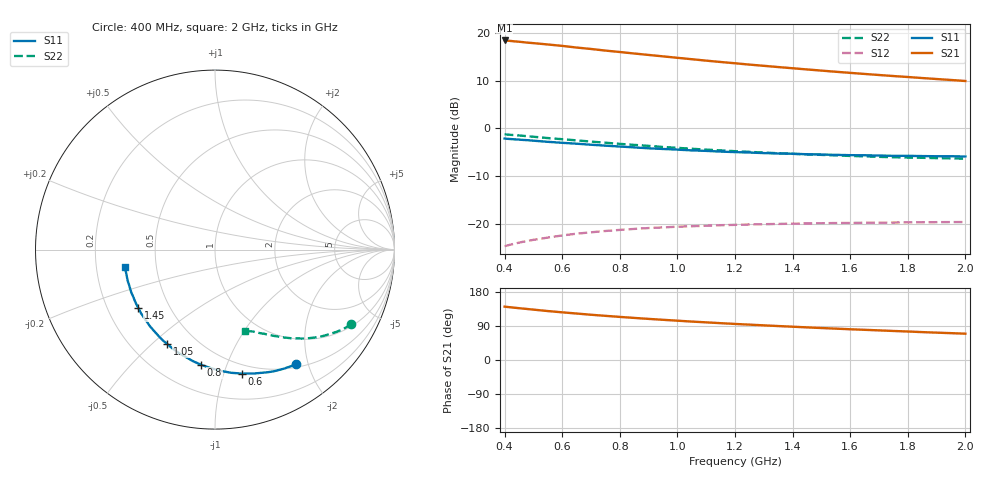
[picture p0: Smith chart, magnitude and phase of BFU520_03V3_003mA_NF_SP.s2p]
! Filename:  P:\Prog\Test\Noise\ATS_data\Testdata_Net\06 Compressed Noise after Statistics\BFU520_APG2013_37_A05_03p3V_003mA_NF_CM01_D.sf
! Date/Time: Fri 26/Apr/2013 14:13:16
! BFU520_APG2013_37_A05_03p3V_1to20mA_NF_CM01_Bias3_R.sf
! Noise Parameter Data File
! BFU520_APG2013_37_A05_03p3V_1to20mA_NF_CM01
! Date/time: Tue Apr 23 15:18:41 2013
! VAR V_out= 3.300000
! VAR I_out= 2.995000
! VAR V_in= 0.818700
! VAR I_in= 0.034105
! Device data file deembeded for feedlines and parallel
! Original file: \06 Compressed Noise after Statistics\BFU520_APG2013_37_A05_03p3V_003mA_NF_CM01_R.sf
! Feed-files: PR047V01_250413_Feed1.s2p, PR047V01_250413_Feed2.s2p
! Parallel-file: PR047V01_250413_Par.s2p
# MHz S MA R 50
!  Freq-MHz  S11-mag  S11-arg  S21-mag  S21-arg  S12-mag  S12-arg  S22-mag  S22-arg
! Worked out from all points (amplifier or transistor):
!   37 points, 400 MHz to 2 GHz, reference 50 ohm
!   highest |S21| = 18.4 dB at 400 MHz (marker M1)
!   |S21| within 3 dB of that: start of sweep to 895.7 MHz
!   unconditionally stable (mu >= 1): nowhere
!   at 500 MHz: K = 0.22, MSG = 20.5 dB, |S12| = -23.3 dB
!   at 1.1 GHz: K = 0.46, MSG = 17.2 dB, |S12| = -20.3 dB
!   at 2 GHz: K = 0.81, MSG = 14.7 dB, |S12| = -19.6 dB
!   lowest NFmin = 0.56 dB at 420 MHz
!   S11 on the Smith chart (normalised r, x): 400 MHz: 0.55, -1.80; 600 MHz: 0.42, -1.15; 800 MHz: 0.37, -0.82; 1.05 GHz: 0.35, -0.56; 1.45 GHz: 0.33, -0.31; 2 GHz: 0.33, -0.09
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400  0.7826 -54.8  8.288 140.8  0.05889 59.8  0.8663 -28.7
440  0.7674 -59.6  8.088 137.5  0.06308 57.5  0.8476 -30.9
500  0.7442 -66.6  7.772 133.0  0.06858 54.2  0.8184 -34.0
550  0.7242 -72.4  7.525 129.2  0.0724 51.6  0.7929 -36.4
600  0.7073 -77.7  7.275 125.8  0.0762 49.4  0.7712 -38.6
650  0.692 -82.6  6.987 122.6  0.07953 47.3  0.7498 -40.6
700  0.6753 -87.7  6.754 119.4  0.08217 45.4  0.7283 -42.5
750  0.6603 -92.3  6.497 116.5  0.08485 43.6  0.7091 -44.3
800  0.6467 -96.8  6.278 113.7  0.08708 42.1  0.6896 -45.9
850  0.6334 -101.2  6.057 111.0  0.08916 40.5  0.6725 -47.4
900  0.6196 -105.4  5.85 108.5  0.09108 39.2  0.6571 -48.9
950  0.6099 -109.4  5.655 106.1  0.0925 37.9  0.6402 -50.2
1050  0.5892 -117.0  5.278 101.4  0.09515 35.7  0.6126 -52.8
1150  0.5727 -124.0  4.939 97.2  0.09752 33.9  0.5894 -54.9
1200  0.5653 -127.4  4.789 95.2  0.09829 33.0  0.5783 -56.1
1300  0.5523 -133.6  4.504 91.4  0.09989 31.7  0.5591 -58.0
1450  0.5371 -142.5  4.128 86.1  0.1018 30.0  0.5353 -60.8
1500  0.5336 -145.2  4.014 84.4  0.1022 29.6  0.5289 -61.7
1600  0.5253 -150.6  3.802 81.1  0.103 28.8  0.5157 -63.4
1750  0.5172 -157.9  3.522 76.6  0.104 28.0  0.4999 -65.8
1850  0.514 -162.6  3.357 73.6  0.1047 27.6  0.493 -67.4
2000  0.5089 -168.8  3.127 69.4  0.1051 27.3  0.4826 -69.9
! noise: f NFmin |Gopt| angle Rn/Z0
400  0.6487  0.3669  22.06  0.1701
460  0.5707  0.3427  25.87  0.1516
600  0.6588  0.3605  30.67  0.1596
800  0.6802  0.3261  43.97  0.1444
1000  0.7167  0.345  55.71  0.1395
1200  0.7343  0.3263  66.38  0.1378
1400  0.7754  0.341  83.34  0.1159
1600  0.7844  0.312  91.38  0.1112
1800  0.6955  0.3241  104.2  0.0912
2000  0.9214  0.3174  115.3  0.0972
